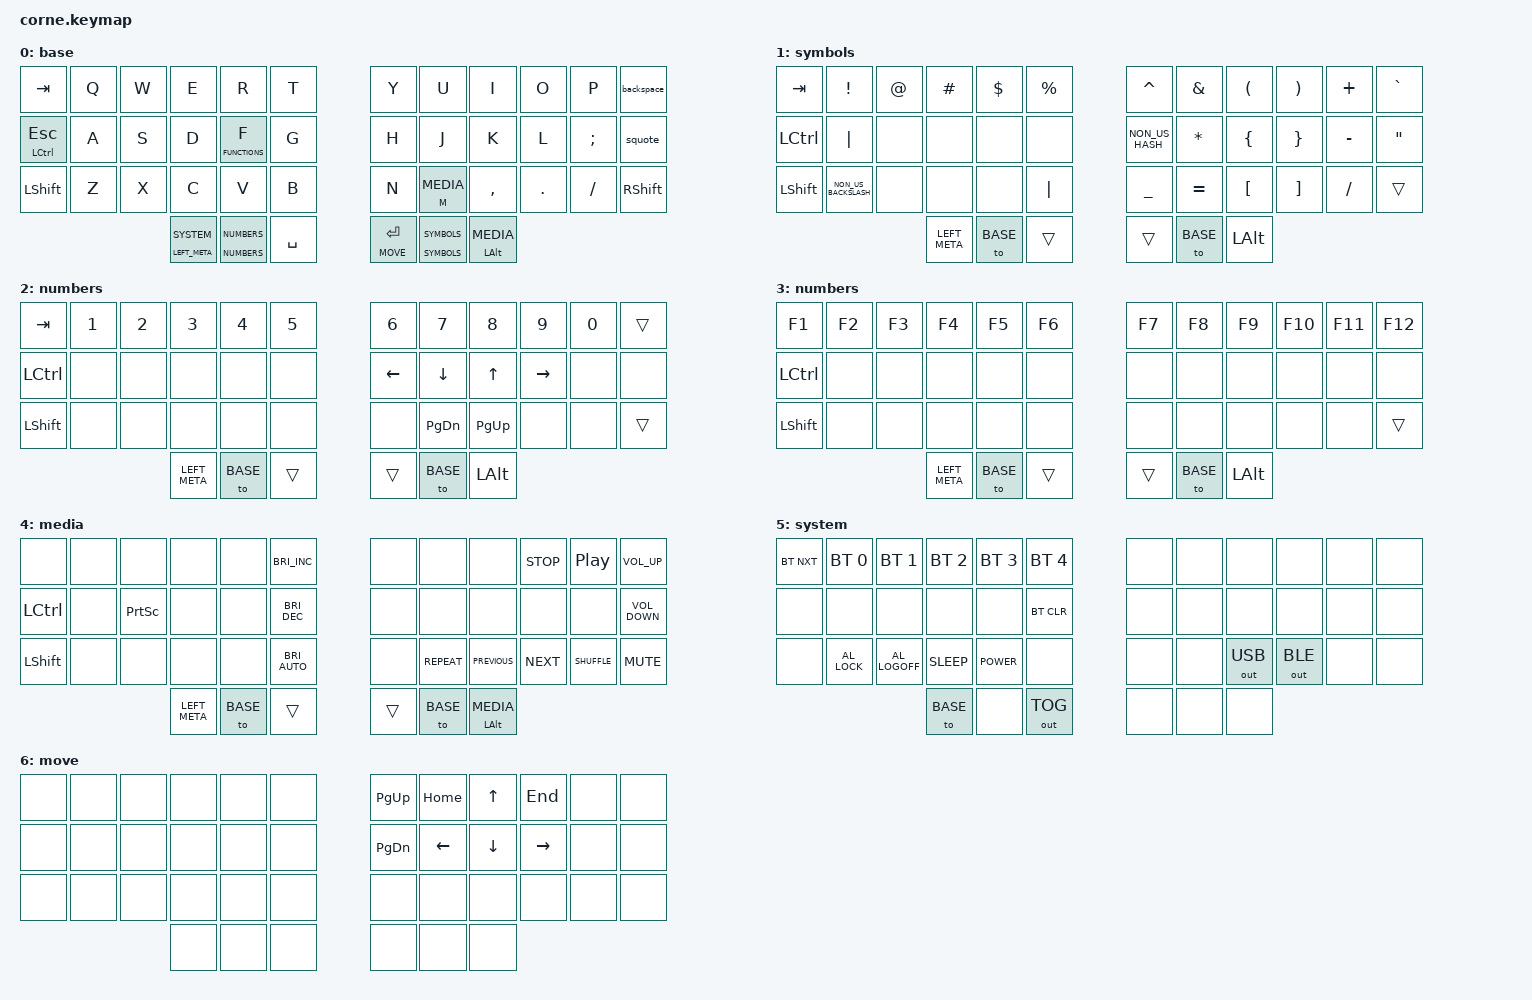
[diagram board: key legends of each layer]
/* vim: filetype=c
 * Copyright (c) 2020, 2023 The ZMK Contributors, Jonathan Wright
 *
 * SPDX-License-Identifier: MIT
 */

#include <behaviors.dtsi>
#include <dt-bindings/zmk/keys.h>
#include <dt-bindings/zmk/bt.h>
#include <dt-bindings/zmk/outputs.h>

// Prepare the Layers
#define BASE 0
#define SYMBOLS 1
#define NUMBERS 2
#define FUNCTIONS 3
#define MEDIA 4
#define SYSTEM 5
#define MOVE 6

// TAP_DANCE settings
#define TAP_SPEED 200

&sk {
  release-after-ms = <2000>;
  quick-release;
};

&mt {
  tapping-term-ms = <400>;
  retro-tap;
};

&soft_off {
    hold-time-ms = <2000>;
};

/ {

  behaviors {
    ms: mod_sticky {
      compatible = "zmk,behavior-hold-tap";
      #binding-cells = <2>;
      flavor = "hold-preferred";
      tapping-term-ms = <200>;
      bindings = <&mo>, <&sl>;
    };

    kpt: kp_toggle {
      compatible = "zmk,behavior-hold-tap";
      #binding-cells = <2>;
      flavor = "hold-preferred";
      tapping-term-ms = <200>;
      bindings = <&kp>, <&tog>;
    };

    squote: single_double_quote {
      compatible = "zmk,behavior-mod-morph";
      #binding-cells = <0>;
      bindings = <&kp SINGLE_QUOTE>, <&kp DOUBLE_QUOTES>;
      mods = <(MOD_LSFT|MOD_RSFT)>;
    };

     backspace: backspace_delete {
      compatible = "zmk,behavior-mod-morph";
      #binding-cells = <0>;
      bindings = <&kp BACKSPACE>, <&kp DELETE>;
      mods = <(MOD_LSFT|MOD_RSFT)>;
    };
  };

  combos {
    compatible = "zmk,combos";

    // Power off the left-hand keyboard
    left_soft_off {
      timeout-ms = <100>;
      layers = <0>; // limit to the BASE layer
      key-positions = <37 38 39>;
      bindings = <&soft_off>;
    };

    // Power off the right-hand keyboard
    right_soft_off {
      timeout-ms = <100>;
      layers = <0>; // limit to the BASE layer
      key-positions = <40 41 42>;
      bindings = <&soft_off>;
    };
  };

  keymap {
    compatible = "zmk,keymap";

    // ╭────┬────┬────┬────┬────┬────╮ ╭────┬────┬────┬────┬────┬────╮
    // │ 01 │ 02 │ 03 │ 04 │ 05 │ 06 │ │ 07 │ 08 │ 09 │ 10 │ 11 │ 12 │
    // ├────┼────┼────┼────┼────┼────┤ ├────┼────┼────┼────┼────┼────┤
    // │ 13 │ 14 │ 15 │ 16 │ 17 │ 18 │ │ 19 │ 20 │ 21 │ 22 │ 23 │ 24 │
    // ├────┼────┼────┼────┼────┼────┤ ├────┼────┼────┼────┼────┼────┤
    // │ 25 │ 26 │ 27 │ 28 │ 29 │ 30 │ │ 31 │ 32 │ 33 │ 34 │ 35 │ 36 │
    // ╰────┴────┴────┼────┼────┼────┤ ├────┼────┼────┼────┴────┴────╯
    //                │ 37 │ 38 │ 39 │ │ 40 │ 41 │ 42 │
    //                ╰────┴────┴────╯ ╰────┴────┴────╯

    default_layer {
      label = "base";
      bindings = <
        // ╭─────────────────────────┬───────┬───────┬───────┬─────────────────┬───────╮ ╭───────┬─────────────┬───────────┬────────────┬───────────────┬──────────────────╮
             &kp TAB                   &kp Q   &kp W   &kp E   &kp R             &kp T     &kp Y   &kp U         &kp I       &kp O        &kp P           &backspace
        // ├─────────────────────────┼───────┼───────┼───────┼─────────────────┼───────┤ ├───────┼─────────────┼───────────┼────────────┼───────────────┼──────────────────┤
             &mt LEFT_CONTROL ESCAPE   &kp A   &kp S   &kp D   &lt FUNCTIONS F   &kp G     &kp H   &kp J         &kp K       &kp L        &kp SEMICOLON   &squote
        // ├─────────────────────────┼───────┼───────┼───────┼─────────────────┼───────┤ ├───────┼─────────────┼───────────┼────────────┼───────────────┼──────────────────┤
             &kp LEFT_SHIFT            &kp Z   &kp X   &kp C   &kp V             &kp B     &kp N   &lt M MEDIA   &kp COMMA   &kp PERIOD   &kp SLASH       &kp RIGHT_SHIFT
        // ╰─────────────────┬───────┴───────┴───────┼───────┴─────────────┬───┴───────┤ ├───────┴────────┬────┴───────────┴────┬───────┴─────────────┬─┴──────────────────╯
                               &kpt LEFT_META SYSTEM   &ms NUMBERS NUMBERS   &kp SPACE     &lt MOVE ENTER   &ms SYMBOLS SYMBOLS   &kpt LEFT_ALT MEDIA
        //                   ╰───────────────────────┴─────────────────────┴───────────╯ ╰────────────────┴─────────────────────┴─────────────────────╯
      >;
    };

    symbols_layer { // right modifier
      label = "symbols";
      bindings = <
        //                                                           HASH is £
        // ╭──────────────────┬──────────────────────┬─────────────┬─────────────────┬────────────┬─────────────╮ ╭─────────────────┬───────────────┬──────────────────────┬──────────────────────┬───────────┬───────────────────╮
             &kp TAB            &kp EXCLAMATION        &kp AT_SIGN   &kp HASH          &kp DOLLAR   &kp PERCENT     &kp CARET         &kp AMPERSAND   &kp LEFT_PARENTHESIS   &kp RIGHT_PARENTHESIS  &kp PLUS    &kp GRAVE
        // ├──────────────────┼──────────────────────┼─────────────┼─────────────────┼────────────┼─────────────┤ ├─────────────────┼───────────────┼──────────────────────┼──────────────────────┼───────────┼───────────────────┤
        //                                                                                                          NON_US_HASH is #
             &kp LEFT_CONTROL   &kp PIPE               &none         &none             &none        &none           &kp NON_US_HASH   &kp ASTERISK    &kp LEFT_BRACE         &kp RIGHT_BRACE        &kp MINUS   &kp DOUBLE_QUOTES
        // ├──────────────────┼──────────────────────┼─────────────┼─────────────────┼────────────┼─────────────┤ ├─────────────────┼───────────────┼──────────────────────┼──────────────────────┼───────────┼───────────────────┤
        //                                                                                          PIPE is ~ for UK keyboards
             &kp LEFT_SHIFT     &kp NON_US_BACKSLASH   &none         &none             &none        &kp PIPE        &kp UNDERSCORE    &kp EQUAL       &kp LEFT_BRACKET       &kp RIGHT_BRACKET      &kp SLASH   &trans
        // ╰──────────────────┴──────────────────────┴─────────────┴────────┬────────┴──────┬─────┴────┬────────┤ ├────────┬────────┴─┬─────────────┴─┬────────────────────┴──────────────────────┴───────────┴───────────────────╯
                                                                              &kp LEFT_META   &to BASE   &trans     &trans   &to BASE   &kp LEFT_ALT
        //                                                                  ╰───────────────┴──────────┴────────╯ ╰────────┴──────────┴──────────────╯
      >;
    };

    numbers_layer {
      label = "numbers";
      bindings = <
        // ╭──────────────────┬────────┬────────┬────────┬────────┬────────╮ ╭──────────┬───────────────┬─────────────┬───────────┬────────┬────────╮
             &kp TAB            &kp N1   &kp N2   &kp N3   &kp N4   &kp N5     &kp N6     &kp N7          &kp N8        &kp N9      &kp N0   &trans
        // ├──────────────────┼────────┼────────┼────────┼────────┼────────┤ ├──────────┼───────────────┼─────────────┼───────────┼────────┼────────┤
             &kp LEFT_CONTROL   &none    &none    &none    &none    &none      &kp LEFT   &kp DOWN        &kp UP        &kp RIGHT   &none    &none
        // ├──────────────────┼────────┼────────┼────────┼────────┼────────┤ ├──────────┼───────────────┼─────────────┼───────────┼────────┼────────┤
             &kp LEFT_SHIFT     &none    &none    &none    &none    &none      &none      &kp PAGE_DOWN   &kp PAGE_UP   &none       &none    &trans
        // ╰──────────────────┴────────┼────────┴──────┬─┴────────┼────────┤ ├────────┬──┴───────┬──────┴───────┬─────┴───────────┴────────┴────────╯
                                         &kp LEFT_META   &to BASE   &trans     &trans   &to BASE   &kp LEFT_ALT
        //                             ╰───────────────┴──────────┴────────╯ ╰────────┴──────────┴──────────────╯

      >;
    };

    functions_layer {
      label = "numbers";
      bindings = <
        // ╭──────────────────┬────────┬────────┬────────┬────────┬────────╮ ╭────────┬────────┬────────┬─────────┬─────────┬─────────╮
             &kp F1             &kp F2   &kp F3   &kp F4   &kp F5   &kp F6     &kp F7   &kp F8   &kp F9   &kp F10   &kp F11   &kp F12
        // ├──────────────────┼────────┼────────┼────────┼────────┼────────┤ ├────────┼────────┼────────┼─────────┼─────────┼─────────┤
             &kp LEFT_CONTROL   &none    &none    &none    &none    &none      &none    &none    &none    &none     &none     &none
        // ├──────────────────┼────────┼────────┼────────┼────────┼────────┤ ├─────────────────┼────────┼─────────┼─────────┼─────────┤
             &kp LEFT_SHIFT     &none    &none    &none    &none    &none      &none    &none    &none    &none     &none     &trans
        // ╰──────────────────┴────────┼────────┴──────┬─┴────────┼────────┤ ├────────┼────────┴─┬──────┴───────┬─┴─────────┴─────────╯
                                         &kp LEFT_META   &to BASE   &trans     &trans   &to BASE   &kp LEFT_ALT
        //                             ╰───────────────┴──────────┴────────╯ ╰────────┴──────────┴──────────────╯

      >;
    };

    media_layer {
      label = "media";
      bindings = <
        // ╭──────────────────┬───────┬─────────────────┬───────┬───────┬───────────────────────╮ ╭───────┬──────────────┬────────────────┬────────────┬──────────────────┬───────────────────╮
             &none              &none   &none             &none   &none   &kp C_BRIGHTNESS_INC      &none   &none          &none            &kp C_STOP   &kp C_PLAY_PAUSE   &kp C_VOLUME_UP
        // ├──────────────────┼───────┼─────────────────┼───────┼───────┼───────────────────────┤ ├───────┼──────────────┼────────────────┼────────────┼──────────────────┼───────────────────┤
             &kp LEFT_CONTROL   &none   &kp PRINTSCREEN   &none   &none   &kp C_BRIGHTNESS_DEC      &none   &none          &none            &none        &none              &kp C_VOLUME_DOWN
        // ├──────────────────┼───────┼─────────────────┼───────┼───────┼───────────────────────┤ ├───────┼──────────────┼────────────────┼────────────┼──────────────────┼───────────────────┤
             &kp LEFT_SHIFT     &none   &none             &none   &none   &kp C_BRIGHTNESS_AUTO     &none   &kp C_REPEAT   &kp C_PREVIOUS   &kp C_NEXT   &kp C_SHUFFLE      &kp C_MUTE
        // ├──────────────────┴───────┴─────────────────┴───┬───┴───────┴───┬──────────┬────────┤ ├───────┴┬─────────┬───┴────────────────┴─┬──────────┴──────────────────┴───────────────────╯
                                                              &kp LEFT_META   &to BASE   &trans     &trans   &to BASE   &kpt LEFT_ALT MEDIA
        //                                                  ╰───────────────┴──────────┴────────╯ ╰────────┴──────────┴─────────────────────╯
      >;
    };

    system_layer {
      label = "system";
      bindings = <
        // ╭────────────┬─────────────────┬─────────────────┬──────────────┬──────────────┬──────────────╮ ╭───────┬───────┬──────────────┬──────────────┬───────┬───────╮
             &bt BT_NXT   &bt BT_SEL 0      &bt BT_SEL 1      &bt BT_SEL 2   &bt BT_SEL 3   &bt BT_SEL 4     &none   &none   &none          &none          &none   &none
        // ├────────────┼─────────────────┼─────────────────┼──────────────┼──────────────┼──────────────┤ ├───────┼───────┼──────────────┼──────────────┼───────┼───────┤
             &none        &none             &none             &none          &none          &bt BT_CLR       &none   &none   &none          &none          &none   &none
        // ├────────────┼─────────────────┼─────────────────┼──────────────┼──────────────┼──────────────┤ ├───────┼───────┼──────────────┼──────────────┼───────┼───────┤
             &none        &kp C_AL_LOCK     &kp C_AL_LOGOFF   &kp C_SLEEP    &kp C_POWER    &none            &none   &none   &out OUT_USB   &out OUT_BLE   &none   &none
        // ╰────────────┴─────────────────┴─────────────────┴──────────────┴──────┬───────┴──────────────┤ ├───────┼───────┼───────┬──────┴──────────────┴───────┴───────╯
                                                                         &to BASE   &none   &out OUT_TOG     &none   &none   &none
        //                                                             ╰──────────┴───────┴──────────────╯ ╰───────┴───────┴───────╯
      >;
    };

    move_layer {
      label = "move";
      bindings = <
        // ╭───────┬───────┬───────┬───────┬───────┬───────╮ ╭───────────────┬──────────┬──────────┬───────────┬───────┬───────╮
             &none   &none   &none   &none   &none   &none     &kp PAGE_UP     &kp HOME   &kp UP     &kp END     &none   &none
        // ├───────┼───────┼───────┼───────┼───────┼───────┤ ├───────────────┼──────────┼──────────┼───────────┼───────┼───────┤
             &none   &none   &none   &none   &none   &none     &kp PAGE_DOWN   &kp LEFT   &kp DOWN   &kp RIGHT   &none   &none
        // ├───────┼───────┼───────┼──────────────┼────────┤ ├───────────────┼──────────┼──────────┼───────────┼───────┼───────┤
             &none   &none   &none   &none   &none   &none     &none           &none      &none      &none       &none   &none
        // ╰───────┴───────┴───────┼───────┼───────┼───────┤ ├───────┬───────┼───────┬──┴──────────┴───────────┴───────┴───────╯
                                     &none   &none   &none     &none   &none   &none
        //                         ╰───────┴───────┴───────╯ ╰───────┴───────┴───────╯
      >;
    };
  };
};
